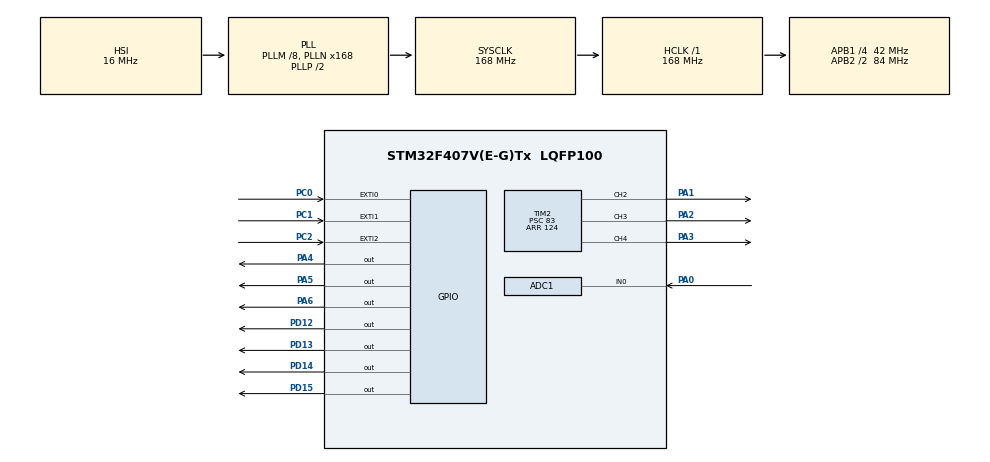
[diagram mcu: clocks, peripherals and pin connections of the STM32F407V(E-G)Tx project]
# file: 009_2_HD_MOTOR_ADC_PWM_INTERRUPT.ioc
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ADC1.Channel-0\#ChannelRegularConversion=ADC_CHANNEL_0
ADC1.NbrOfConversionFlag=1
ADC1.Rank-0\#ChannelRegularConversion=1
ADC1.Resolution=ADC_RESOLUTION_8B
ADC1.SamplingTime-0\#ChannelRegularConversion=ADC_SAMPLETIME_3CYCLES
ADC1.ScanConvMode=ENABLE
ADC1.master=1
Mcu.Family=STM32F4
Mcu.Name=STM32F407V(E-G)Tx
Mcu.Package=LQFP100
NVIC.EXTI0_IRQn=true\:0\:0\:false\:false\:true\:true\:true
NVIC.EXTI1_IRQn=true\:0\:0\:false\:false\:true\:true\:true
NVIC.EXTI2_IRQn=true\:0\:0\:false\:false\:true\:true\:true
NVIC.PriorityGroup=NVIC_PRIORITYGROUP_4
PA0-WKUP.Signal=ADCx_IN0
PA1.Signal=S_TIM2_CH2
PA2.Signal=S_TIM2_CH3
PA3.Signal=S_TIM2_CH4
PA4.GPIO_Speed=GPIO_SPEED_FREQ_VERY_HIGH
PA4.Signal=GPIO_Output
PA5.GPIO_Speed=GPIO_SPEED_FREQ_VERY_HIGH
PA5.Signal=GPIO_Output
PA6.GPIO_Speed=GPIO_SPEED_FREQ_VERY_HIGH
PA6.Signal=GPIO_Output
PC0.Signal=GPXTI0
PC1.Signal=GPXTI1
PC2.Signal=GPXTI2
PD12.GPIO_Speed=GPIO_SPEED_FREQ_VERY_HIGH
PD12.Signal=GPIO_Output
PD13.GPIO_Speed=GPIO_SPEED_FREQ_VERY_HIGH
PD13.Signal=GPIO_Output
PD14.GPIO_Speed=GPIO_SPEED_FREQ_VERY_HIGH
PD14.Signal=GPIO_Output
PD15.GPIO_Speed=GPIO_SPEED_FREQ_VERY_HIGH
PD15.Signal=GPIO_Output
ProjectManager.HeapSize=0x200
ProjectManager.StackSize=0x400
ProjectManager.TargetToolchain=STM32CubeIDE
RCC.48MHZClocksFreq_Value=84000000
RCC.AHBFreq_Value=168000000
RCC.APB1CLKDivider=RCC_HCLK_DIV4
RCC.APB1Freq_Value=42000000
RCC.APB1TimFreq_Value=84000000
RCC.APB2CLKDivider=RCC_HCLK_DIV2
RCC.APB2Freq_Value=84000000
RCC.APB2TimFreq_Value=168000000
RCC.CortexFreq_Value=168000000
RCC.HCLKFreq_Value=168000000
RCC.HSE_VALUE=25000000
RCC.HSI_VALUE=16000000
RCC.LSE_VALUE=32768
RCC.PLLM=8
RCC.PLLN=168
RCC.SYSCLKFreq_VALUE=168000000
RCC.SYSCLKSource=RCC_SYSCLKSOURCE_PLLCLK
RCC.VCOOutputFreq_Value=336000000
SH.ADCx_IN0.0=ADC1_IN0,IN0
SH.S_TIM2_CH2.0=TIM2_CH2,PWM Generation2 CH2
SH.S_TIM2_CH3.0=TIM2_CH3,PWM Generation3 CH3
SH.S_TIM2_CH4.0=TIM2_CH4,PWM Generation4 CH4
TIM2.Channel-PWM\ Generation2\ CH2=TIM_CHANNEL_2
TIM2.Channel-PWM\ Generation3\ CH3=TIM_CHANNEL_3
TIM2.Channel-PWM\ Generation4\ CH4=TIM_CHANNEL_4
TIM2.Period=124
TIM2.Prescaler=83
board=custom

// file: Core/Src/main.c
/* USER CODE BEGIN Header */
/**
  ******************************************************************************
  * @file           : main.c
  * @brief          : Main program body
  ******************************************************************************
  * @attention
  *
  * <h2><center>&copy; Copyright (c) 2020 STMicroelectronics.
  * All rights reserved.</center></h2>
  *
  * This software component is licensed by ST under BSD 3-Clause license,
  * the "License"; You may not use this file except in compliance with the
  * License. You may obtain a copy of the License at:
  *                        opensource.org/licenses/BSD-3-Clause
  *
  ******************************************************************************
  */
/* USER CODE END Header */

#include "main.h"

/* USER CODE BEGIN Includes */

int adc_value, pulse;
int a=0, b=0, c=0, t=0; // sensörden gelen veriler a, b ve c dir bunlar t de toplanıp
// t' de oluşan değerlere göre swich case yapısı ile motorlara pwm gönderilecek.

/* USER CODE END Includes */

ADC_HandleTypeDef hadc1;

TIM_HandleTypeDef htim2;

void SystemClock_Config(void);
static void MX_GPIO_Init(void);
static void MX_ADC1_Init(void);
static void MX_TIM2_Init(void);
/* USER CODE BEGIN PFP */

void HAL_GPIO_EXTI_Callback(uint16_t GPIO_Pin)
{
	a=0, b=0, c=0, t=0;
	while(HAL_GPIO_ReadPin(GPIOC, GPIO_PIN_0))
	{
		a=1;
		b=0;
		c=0;
		while(HAL_GPIO_ReadPin(GPIOC, GPIO_PIN_1))
		{
			b=1;
			break;
		}
		while(HAL_GPIO_ReadPin(GPIOC, GPIO_PIN_2))
		{
			c=1;
			break;
		}
		break;
	}
	while(HAL_GPIO_ReadPin(GPIOC, GPIO_PIN_1))
	{
		a=0;
		b=1;
		c=0;
		while(HAL_GPIO_ReadPin(GPIOC, GPIO_PIN_0))
		{
			a=1;
			break;
		}
		while(HAL_GPIO_ReadPin(GPIOC, GPIO_PIN_2))
		{
			c=1;
			break;
		}
		break;
	}
	while(HAL_GPIO_ReadPin(GPIOC, GPIO_PIN_2))
	{
		a=0;
		b=0;
		c=1;
		while(HAL_GPIO_ReadPin(GPIOC, GPIO_PIN_1))
		{
			b=1;
			break;
		}
		while(HAL_GPIO_ReadPin(GPIOC, GPIO_PIN_0))
		{
			a=1;
			break;
		}
		break;
	}
	t=c*4+b*2+a;
	motor();

}
void motor()
{
	switch (t)
			{
			case 1:
				__HAL_TIM_SET_COMPARE(&htim2, TIM_CHANNEL_2, adc_value);
				HAL_GPIO_WritePin(GPIOA, GPIO_PIN_4, GPIO_PIN_SET);
				__HAL_TIM_SET_COMPARE(&htim2, TIM_CHANNEL_3, 0);
				HAL_GPIO_WritePin(GPIOA, GPIO_PIN_5, GPIO_PIN_RESET);
				__HAL_TIM_SET_COMPARE(&htim2, TIM_CHANNEL_4, 255);
				HAL_GPIO_WritePin(GPIOA, GPIO_PIN_6, GPIO_PIN_RESET);
				break;
			case 2:
				__HAL_TIM_SET_COMPARE(&htim2, TIM_CHANNEL_2, 255);
				HAL_GPIO_WritePin(GPIOA, GPIO_PIN_4, GPIO_PIN_RESET);
				__HAL_TIM_SET_COMPARE(&htim2, TIM_CHANNEL_3, adc_value);
				HAL_GPIO_WritePin(GPIOA, GPIO_PIN_5, GPIO_PIN_SET);
				__HAL_TIM_SET_COMPARE(&htim2, TIM_CHANNEL_4, 0);
				HAL_GPIO_WritePin(GPIOA, GPIO_PIN_6, GPIO_PIN_RESET);
				break;
			case 3:
				__HAL_TIM_SET_COMPARE(&htim2, TIM_CHANNEL_2, 0);
				HAL_GPIO_WritePin(GPIOA, GPIO_PIN_4, GPIO_PIN_RESET);
				__HAL_TIM_SET_COMPARE(&htim2, TIM_CHANNEL_3, adc_value);
				HAL_GPIO_WritePin(GPIOA, GPIO_PIN_5, GPIO_PIN_SET);
				__HAL_TIM_SET_COMPARE(&htim2, TIM_CHANNEL_4, 255);
				HAL_GPIO_WritePin(GPIOA, GPIO_PIN_6, GPIO_PIN_RESET);
				break;
			case 4:
				__HAL_TIM_SET_COMPARE(&htim2, TIM_CHANNEL_2, 0);
				HAL_GPIO_WritePin(GPIOA, GPIO_PIN_4, GPIO_PIN_RESET);
				__HAL_TIM_SET_COMPARE(&htim2, TIM_CHANNEL_3, 255);
				HAL_GPIO_WritePin(GPIOA, GPIO_PIN_5, GPIO_PIN_RESET);
				__HAL_TIM_SET_COMPARE(&htim2, TIM_CHANNEL_4, adc_value);
				HAL_GPIO_WritePin(GPIOA, GPIO_PIN_6, GPIO_PIN_SET);
				break;
			case 5:
				__HAL_TIM_SET_COMPARE(&htim2, TIM_CHANNEL_2, adc_value);
				HAL_GPIO_WritePin(GPIOA, GPIO_PIN_4, GPIO_PIN_SET);
				__HAL_TIM_SET_COMPARE(&htim2, TIM_CHANNEL_3, 255);
				HAL_GPIO_WritePin(GPIOA, GPIO_PIN_5, GPIO_PIN_RESET);
				__HAL_TIM_SET_COMPARE(&htim2, TIM_CHANNEL_4, 0);
				HAL_GPIO_WritePin(GPIOA, GPIO_PIN_6, GPIO_PIN_RESET);
				break;
			case 6:
				__HAL_TIM_SET_COMPARE(&htim2, TIM_CHANNEL_2, 255);
				HAL_GPIO_WritePin(GPIOA, GPIO_PIN_4, GPIO_PIN_RESET);
				__HAL_TIM_SET_COMPARE(&htim2, TIM_CHANNEL_3, 0);
				HAL_GPIO_WritePin(GPIOA, GPIO_PIN_5, GPIO_PIN_RESET);
				__HAL_TIM_SET_COMPARE(&htim2, TIM_CHANNEL_4, adc_value);
				HAL_GPIO_WritePin(GPIOA, GPIO_PIN_6, GPIO_PIN_SET);
				break;
			default:
				break;
			}
}
/* USER CODE END PFP */

/* USER CODE BEGIN 0 */

void Read_ADC()
{
	HAL_ADC_Start(&hadc1);

	if(HAL_ADC_PollForConversion(&hadc1, 100000) == HAL_OK)
	{
		adc_value = HAL_ADC_GetValue(&hadc1);
	}
	HAL_ADC_Stop(&hadc1);
}

/* USER CODE END 0 */

int main(void)
{

  /* MCU Configuration--------------------------------------------------------*/

  /* Reset of all peripherals, Initializes the Flash interface and the Systick. */
  HAL_Init();

  /* Configure the system clock */
  SystemClock_Config();

  /* Initialize all configured peripherals */
  MX_GPIO_Init();
  MX_ADC1_Init();
  MX_TIM2_Init();
  /* USER CODE BEGIN 2 */
  HAL_TIM_PWM_Start(&htim2, TIM_CHANNEL_2);
  HAL_TIM_PWM_Start(&htim2, TIM_CHANNEL_3);
  HAL_TIM_PWM_Start(&htim2, TIM_CHANNEL_4);

  /* USER CODE END 2 */

  /* Infinite loop */
  /* USER CODE BEGIN WHILE */
  while (1)
  {
	  Read_ADC();

	  motor();

    /* USER CODE END WHILE */

  }
}

void SystemClock_Config(void)
{
  RCC_OscInitTypeDef RCC_OscInitStruct = {0};
  RCC_ClkInitTypeDef RCC_ClkInitStruct = {0};

  /** Configure the main internal regulator output voltage
  */
  __HAL_RCC_PWR_CLK_ENABLE();
  __HAL_PWR_VOLTAGESCALING_CONFIG(PWR_REGULATOR_VOLTAGE_SCALE1);
  /** Initializes the CPU, AHB and APB busses clocks
  */
  RCC_OscInitStruct.OscillatorType = RCC_OSCILLATORTYPE_HSI;
  RCC_OscInitStruct.HSIState = RCC_HSI_ON;
  RCC_OscInitStruct.HSICalibrationValue = RCC_HSICALIBRATION_DEFAULT;
  RCC_OscInitStruct.PLL.PLLState = RCC_PLL_ON;
  RCC_OscInitStruct.PLL.PLLSource = RCC_PLLSOURCE_HSI;
  RCC_OscInitStruct.PLL.PLLM = 8;
  RCC_OscInitStruct.PLL.PLLN = 168;
  RCC_OscInitStruct.PLL.PLLP = RCC_PLLP_DIV2;
  RCC_OscInitStruct.PLL.PLLQ = 4;
  if (HAL_RCC_OscConfig(&RCC_OscInitStruct) != HAL_OK)
  {
    Error_Handler();
  }
  /** Initializes the CPU, AHB and APB busses clocks
  */
  RCC_ClkInitStruct.ClockType = RCC_CLOCKTYPE_HCLK|RCC_CLOCKTYPE_SYSCLK
                              |RCC_CLOCKTYPE_PCLK1|RCC_CLOCKTYPE_PCLK2;
  RCC_ClkInitStruct.SYSCLKSource = RCC_SYSCLKSOURCE_PLLCLK;
  RCC_ClkInitStruct.AHBCLKDivider = RCC_SYSCLK_DIV1;
  RCC_ClkInitStruct.APB1CLKDivider = RCC_HCLK_DIV4;
  RCC_ClkInitStruct.APB2CLKDivider = RCC_HCLK_DIV2;

  if (HAL_RCC_ClockConfig(&RCC_ClkInitStruct, FLASH_LATENCY_5) != HAL_OK)
  {
    Error_Handler();
  }
}

static void MX_ADC1_Init(void)
{

  ADC_ChannelConfTypeDef sConfig = {0};

  /** Configure the global features of the ADC (Clock, Resolution, Data Alignment and number of conversion)
  */
  hadc1.Instance = ADC1;
  hadc1.Init.ClockPrescaler = ADC_CLOCK_SYNC_PCLK_DIV4;
  hadc1.Init.Resolution = ADC_RESOLUTION_8B;
  hadc1.Init.ScanConvMode = ENABLE;
  hadc1.Init.ContinuousConvMode = DISABLE;
  hadc1.Init.DiscontinuousConvMode = DISABLE;
  hadc1.Init.ExternalTrigConvEdge = ADC_EXTERNALTRIGCONVEDGE_NONE;
  hadc1.Init.ExternalTrigConv = ADC_SOFTWARE_START;
  hadc1.Init.DataAlign = ADC_DATAALIGN_RIGHT;
  hadc1.Init.NbrOfConversion = 1;
  hadc1.Init.DMAContinuousRequests = DISABLE;
  hadc1.Init.EOCSelection = ADC_EOC_SINGLE_CONV;
  if (HAL_ADC_Init(&hadc1) != HAL_OK)
  {
    Error_Handler();
  }
  /** Configure for the selected ADC regular channel its corresponding rank in the sequencer and its sample time.
  */
  sConfig.Channel = ADC_CHANNEL_0;
  sConfig.Rank = 1;
  sConfig.SamplingTime = ADC_SAMPLETIME_3CYCLES;
  if (HAL_ADC_ConfigChannel(&hadc1, &sConfig) != HAL_OK)
  {
    Error_Handler();
  }

}

static void MX_TIM2_Init(void)
{

  TIM_MasterConfigTypeDef sMasterConfig = {0};
  TIM_OC_InitTypeDef sConfigOC = {0};

  htim2.Instance = TIM2;
  htim2.Init.Prescaler = 83;
  htim2.Init.CounterMode = TIM_COUNTERMODE_UP;
  htim2.Init.Period = 124;
  htim2.Init.ClockDivision = TIM_CLOCKDIVISION_DIV1;
  htim2.Init.AutoReloadPreload = TIM_AUTORELOAD_PRELOAD_DISABLE;
  if (HAL_TIM_PWM_Init(&htim2) != HAL_OK)
  {
    Error_Handler();
  }
  sMasterConfig.MasterOutputTrigger = TIM_TRGO_RESET;
  sMasterConfig.MasterSlaveMode = TIM_MASTERSLAVEMODE_DISABLE;
  if (HAL_TIMEx_MasterConfigSynchronization(&htim2, &sMasterConfig) != HAL_OK)
  {
    Error_Handler();
  }
  sConfigOC.OCMode = TIM_OCMODE_PWM1;
  sConfigOC.Pulse = 0;
  sConfigOC.OCPolarity = TIM_OCPOLARITY_HIGH;
  sConfigOC.OCFastMode = TIM_OCFAST_DISABLE;
  if (HAL_TIM_PWM_ConfigChannel(&htim2, &sConfigOC, TIM_CHANNEL_2) != HAL_OK)
  {
    Error_Handler();
  }
  if (HAL_TIM_PWM_ConfigChannel(&htim2, &sConfigOC, TIM_CHANNEL_3) != HAL_OK)
  {
    Error_Handler();
  }
  if (HAL_TIM_PWM_ConfigChannel(&htim2, &sConfigOC, TIM_CHANNEL_4) != HAL_OK)
  {
    Error_Handler();
  }
  HAL_TIM_MspPostInit(&htim2);

}

static void MX_GPIO_Init(void)
{
  GPIO_InitTypeDef GPIO_InitStruct = {0};

  /* GPIO Ports Clock Enable */
  __HAL_RCC_GPIOC_CLK_ENABLE();
  __HAL_RCC_GPIOA_CLK_ENABLE();
  __HAL_RCC_GPIOD_CLK_ENABLE();

  /*Configure GPIO pin Output Level */
  HAL_GPIO_WritePin(GPIOA, GPIO_PIN_4|GPIO_PIN_5|GPIO_PIN_6, GPIO_PIN_RESET);

  /*Configure GPIO pin Output Level */
  HAL_GPIO_WritePin(GPIOD, GPIO_PIN_12|GPIO_PIN_13|GPIO_PIN_14|GPIO_PIN_15, GPIO_PIN_RESET);

  /*Configure GPIO pins : PC0 PC1 PC2 */
  GPIO_InitStruct.Pin = GPIO_PIN_0|GPIO_PIN_1|GPIO_PIN_2;
  GPIO_InitStruct.Mode = GPIO_MODE_IT_RISING;
  GPIO_InitStruct.Pull = GPIO_NOPULL;
  HAL_GPIO_Init(GPIOC, &GPIO_InitStruct);

  /*Configure GPIO pins : PA4 PA5 PA6 */
  GPIO_InitStruct.Pin = GPIO_PIN_4|GPIO_PIN_5|GPIO_PIN_6;
  GPIO_InitStruct.Mode = GPIO_MODE_OUTPUT_PP;
  GPIO_InitStruct.Pull = GPIO_NOPULL;
  GPIO_InitStruct.Speed = GPIO_SPEED_FREQ_VERY_HIGH;
  HAL_GPIO_Init(GPIOA, &GPIO_InitStruct);

  /*Configure GPIO pins : PD12 PD13 PD14 PD15 */
  GPIO_InitStruct.Pin = GPIO_PIN_12|GPIO_PIN_13|GPIO_PIN_14|GPIO_PIN_15;
  GPIO_InitStruct.Mode = GPIO_MODE_OUTPUT_PP;
  GPIO_InitStruct.Pull = GPIO_NOPULL;
  GPIO_InitStruct.Speed = GPIO_SPEED_FREQ_VERY_HIGH;
  HAL_GPIO_Init(GPIOD, &GPIO_InitStruct);

  /* EXTI interrupt init*/
  HAL_NVIC_SetPriority(EXTI0_IRQn, 0, 0);
  HAL_NVIC_EnableIRQ(EXTI0_IRQn);

  HAL_NVIC_SetPriority(EXTI1_IRQn, 0, 0);
  HAL_NVIC_EnableIRQ(EXTI1_IRQn);

  HAL_NVIC_SetPriority(EXTI2_IRQn, 0, 0);
  HAL_NVIC_EnableIRQ(EXTI2_IRQn);

}

void Error_Handler(void)
{
}

/************************ (C) COPYRIGHT STMicroelectronics *****END OF FILE****/
